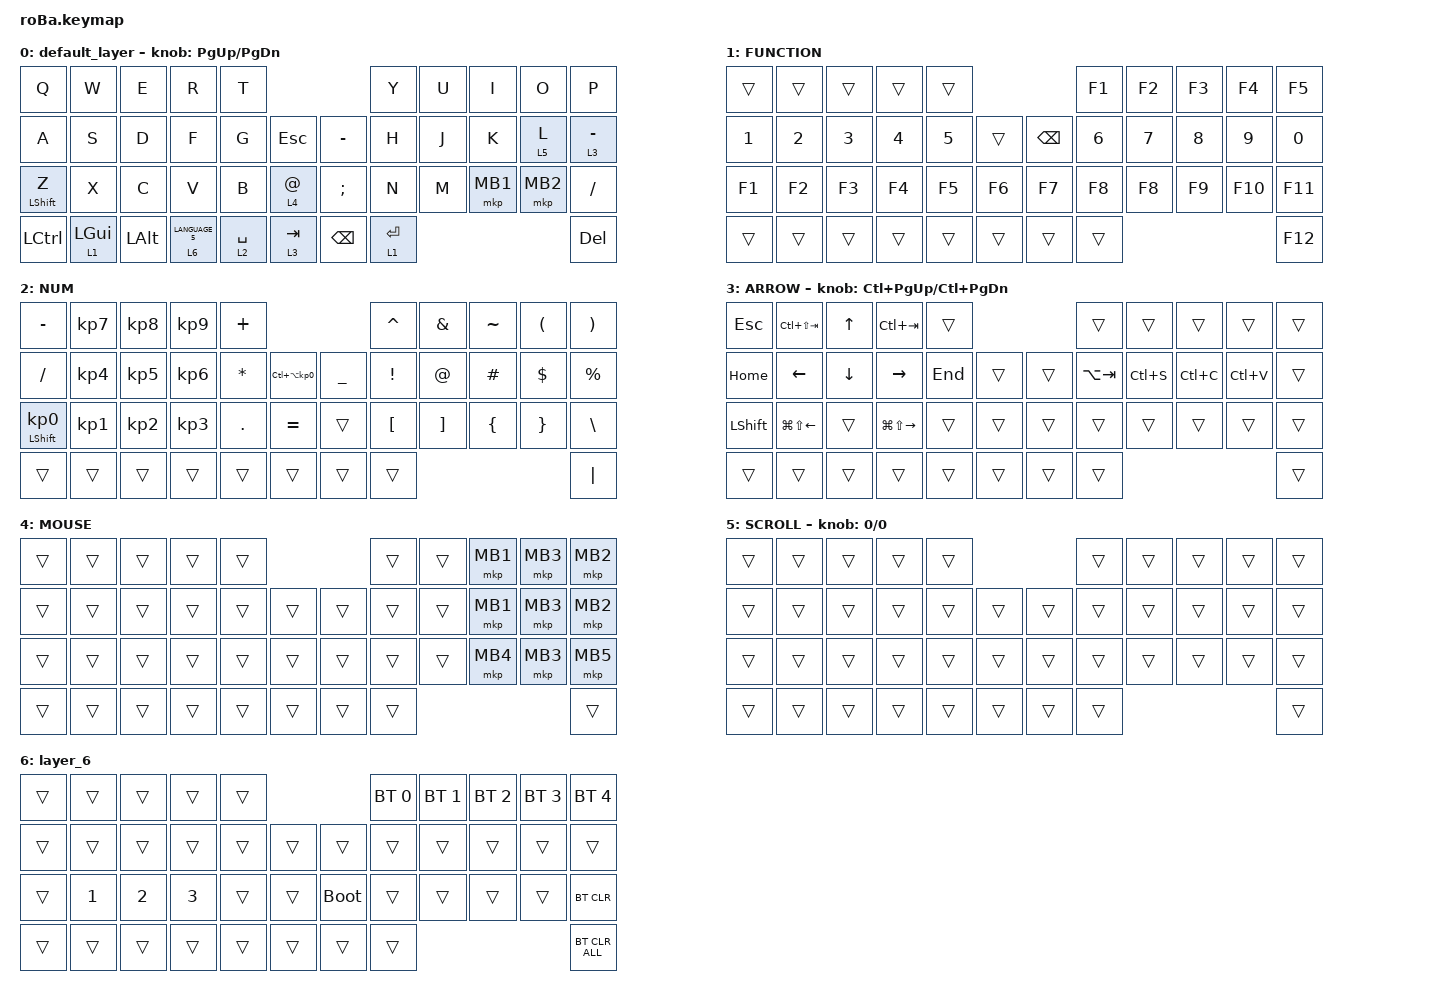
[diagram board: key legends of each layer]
#include <behaviors.dtsi>
#include <dt-bindings/zmk/bt.h>
#include <dt-bindings/zmk/keys.h>
#include <dt-bindings/zmk/pointing.h>

&mt {
    flavor = "balanced";
    quick-tap-ms = <0>;
};

&trackball {
    automouse-layer = <4>;
    scroll-layers = <5>;

    // arrows {
    //     layers = <3>;
    //     bindings =
    //         <&kp RIGHT_ARROW>,
    //         <&kp LEFT_ARROW>,
    //         <&kp UP_ARROW>,
    //         <&kp DOWN_ARROW>;
    //     tick = <10>;
    //     wait-ms = <5>;
    //     tap-ms = <5>;
    // };
};

/ {
    combos {
        compatible = "zmk,combos";

        quote {
            bindings = <&kp SINGLE_QUOTE>;
            key-positions = <5 17>;
        };

        double_quote {
            bindings = <&kp DOUBLE_QUOTES>;
            key-positions = <17 29>;
        };

        semicolon {
            bindings = <&kp SEMICOLON>;
            key-positions = <6 18>;
            timeout-ms = <20>;
        };

        colon {
            bindings = <&kp COLON>;
            key-positions = <18 30>;
        };

        pipe {
            bindings = <&kp PIPE>;
            key-positions = <7 19>;
            timeout-ms = <20>;
        };

        backslash {
            bindings = <&kp BACKSLASH>;
            key-positions = <19 31>;
        };

        tilde {
            bindings = <&kp TILDE>;
            key-positions = <4 14>;
        };

        grave {
            bindings = <&kp GRAVE>;
            key-positions = <14 26>;
        };

        underscore {
            bindings = <&kp UNDERSCORE>;
            key-positions = <3 13>;
        };

        equal {
            bindings = <&kp EQUAL>;
            key-positions = <13 25>;
        };

        lt {
            bindings = <&kp LESS_THAN>;
            key-positions = <2 12>;
        };

        gt {
            bindings = <&kp GREATER_THAN>;
            key-positions = <24 12>;
        };

        exclamation {
            bindings = <&kp EXCLAMATION>;
            key-positions = <1 11>;
        };

        question {
            bindings = <&kp QUESTION>;
            key-positions = <11 23>;
        };

        percent {
            bindings = <&kp PERCENT>;
            key-positions = <1 3>;
        };

        dollar {
            bindings = <&kp DOLLAR>;
            key-positions = <13 11>;
        };

        hash {
            bindings = <&kp HASH>;
            key-positions = <23 25>;
        };

        lpar {
            bindings = <&kp LEFT_PARENTHESIS>;
            key-positions = <12 13>;
        };

        rpar {
            bindings = <&kp RIGHT_PARENTHESIS>;
            key-positions = <18 19>;
        };

        lbkt {
            bindings = <&kp LEFT_BRACKET>;
            key-positions = <3 2>;
            timeout-ms = <20>;
        };

        rbkt {
            bindings = <&kp RIGHT_BRACKET>;
            key-positions = <6 7>;
            timeout-ms = <20>;
        };

        lbrc {
            bindings = <&kp LEFT_BRACE>;
            key-positions = <25 24>;
        };

        rbrc {
            bindings = <&kp RBRC>;
            key-positions = <30 31>;
        };

        caret {
            bindings = <&kp CARET>;
            key-positions = <27 26>;
        };

        amps {
            bindings = <&kp AMPERSAND>;
            key-positions = <0 10>;
            timeout-ms = <20>;
        };

        asterisk {
            bindings = <&kp ASTERISK>;
            key-positions = <10 22>;
        };
    };

    macros {
        to_layer_0: to_layer_0 {
            compatible = "zmk,behavior-macro-one-param";
            #binding-cells = <1>;
            bindings = <&to 0 &macro_param_1to1 &kp MACRO_PLACEHOLDER>;
            label = "TO_LAYER_0";
        };
    };

    behaviors {
        lt_to_layer_0: lt_to_layer_0 {
            compatible = "zmk,behavior-hold-tap";
            label = "LAYER_TAP_TO_0";
            bindings = <&mo>, <&to_layer_0>;

            #binding-cells = <2>;
            tapping-term-ms = <200>;
        };
    };

    keymap {
        compatible = "zmk,keymap";

        default_layer {
            bindings = <
&kp Q             &kp W                      &kp E         &kp R                        &kp T                                                     &kp Y        &kp U  &kp I     &kp O               &kp P
&kp A             &kp S                      &kp D         &kp F                        &kp G        &kp ESC                       &kp MINUS      &kp H        &kp J  &kp K     &lt_to_layer_0 5 L  &lt_to_layer_0 3 MINUS
&mt LEFT_SHIFT Z  &kp X                      &kp C         &kp V                        &kp B        &lt_to_layer_0 4 AT_SIGN      &kp SEMICOLON  &kp N        &kp M  &mkp MB1  &mkp MB2            &kp SLASH
&kp LCTRL         &lt_to_layer_0 1 LEFT_GUI  &kp LEFT_ALT  &lt_to_layer_0 6 LANGUAGE_5  &lt 2 SPACE  &lt_to_layer_0 3 TAB          &kp BACKSPACE  &lt 1 ENTER                                       &kp DEL
            >;

            sensor-bindings = <&inc_dec_kp PG_UP PAGE_DOWN>;
        };

        FUNCTION {
            bindings = <
&trans        &trans        &trans        &trans        &trans                                   &kp F1        &kp F2        &kp F3        &kp F4        &kp F5
&kp NUMBER_1  &kp NUMBER_2  &kp NUMBER_3  &kp NUMBER_4  &kp NUMBER_5  &trans      &kp BACKSPACE  &kp NUMBER_6  &kp NUMBER_7  &kp NUMBER_8  &kp NUMBER_9  &kp NUMBER_0
&kp F1        &kp F2        &kp F3        &kp F4        &kp F5        &kp F6      &kp F7         &kp F8        &kp F8        &kp F9        &kp F10       &kp F11
&trans        &trans        &trans        &trans        &trans        &trans      &trans         &trans                                                  &kp F12
            >;
        };

        NUM {
            bindings = <
&kp MINUS                   &kp KP_NUMBER_7  &kp KP_NUMBER_8  &kp KP_NUMBER_9  &kp PLUS                                                   &kp CARET         &kp AMPERSAND      &kp TILDE       &kp LEFT_PARENTHESIS  &kp RIGHT_PARENTHESIS
&kp SLASH                   &kp KP_NUMBER_4  &kp KP_NUMBER_5  &kp KP_NUMBER_6  &kp ASTERISK  &kp LC(LA(KP_NUMBER_0))      &kp UNDERSCORE  &kp EXCLAMATION   &kp AT_SIGN        &kp HASH        &kp DOLLAR            &kp PERCENT
&mt LEFT_SHIFT KP_NUMBER_0  &kp KP_NUMBER_1  &kp KP_NUMBER_2  &kp KP_NUMBER_3  &kp PERIOD    &kp EQUAL                    &trans          &kp LEFT_BRACKET  &kp RIGHT_BRACKET  &kp LEFT_BRACE  &kp RIGHT_BRACE       &kp BACKSLASH
&trans                      &trans           &trans           &trans           &trans        &trans                       &trans          &trans                                                                     &kp PIPE
            >;
        };

        ARROW {
            bindings = <
&kp ESCAPE      &kp LC(LS(TAB))         &kp UP_ARROW    &kp LC(TAB)              &trans                       &trans       &trans     &trans     &trans     &trans
&kp HOME        &kp LEFT_ARROW          &kp DOWN_ARROW  &kp RIGHT_ARROW          &kp END  &trans      &trans  &kp LA(TAB)  &kp LC(S)  &kp LC(C)  &kp LC(V)  &trans
&kp LEFT_SHIFT  &kp LG(LS(LEFT_ARROW))  &trans          &kp LG(LS(RIGHT_ARROW))  &trans   &trans      &trans  &trans       &trans     &trans     &trans     &trans
&trans          &trans                  &trans          &trans                   &trans   &trans      &trans  &trans                                        &trans
            >;

            sensor-bindings = <&inc_dec_kp LC(PAGE_UP) LC(PAGE_DOWN)>;
        };

        MOUSE {
            bindings = <
&trans  &trans  &trans  &trans  &trans                      &trans  &trans  &mkp MB1  &mkp MB3  &mkp MB2
&trans  &trans  &trans  &trans  &trans  &trans      &trans  &trans  &trans  &mkp MB1  &mkp MB3  &mkp MB2
&trans  &trans  &trans  &trans  &trans  &trans      &trans  &trans  &trans  &mkp MB4  &mkp MB3  &mkp MB5
&trans  &trans  &trans  &trans  &trans  &trans      &trans  &trans                              &trans
            >;
        };

        SCROLL {
            bindings = <
&trans  &trans  &trans  &trans  &trans                      &trans  &trans  &trans  &trans  &trans
&trans  &trans  &trans  &trans  &trans  &trans      &trans  &trans  &trans  &trans  &trans  &trans
&trans  &trans  &trans  &trans  &trans  &trans      &trans  &trans  &trans  &trans  &trans  &trans
&trans  &trans  &trans  &trans  &trans  &trans      &trans  &trans                          &trans
            >;

            sensor-bindings = <&inc_dec_kp 0 0>;
        };

        layer_6 {
            bindings = <
&trans  &trans        &trans        &trans        &trans                           &bt BT_SEL 0  &bt BT_SEL 1  &bt BT_SEL 2  &bt BT_SEL 3  &bt BT_SEL 4
&trans  &trans        &trans        &trans        &trans  &trans      &trans       &trans        &trans        &trans        &trans        &trans
&trans  &kp NUMBER_1  &kp NUMBER_2  &kp NUMBER_3  &trans  &trans      &bootloader  &trans        &trans        &trans        &trans        &bt BT_CLR
&trans  &trans        &trans        &trans        &trans  &trans      &trans       &trans                                                  &bt BT_CLR_ALL
            >;
        };
    };
};
